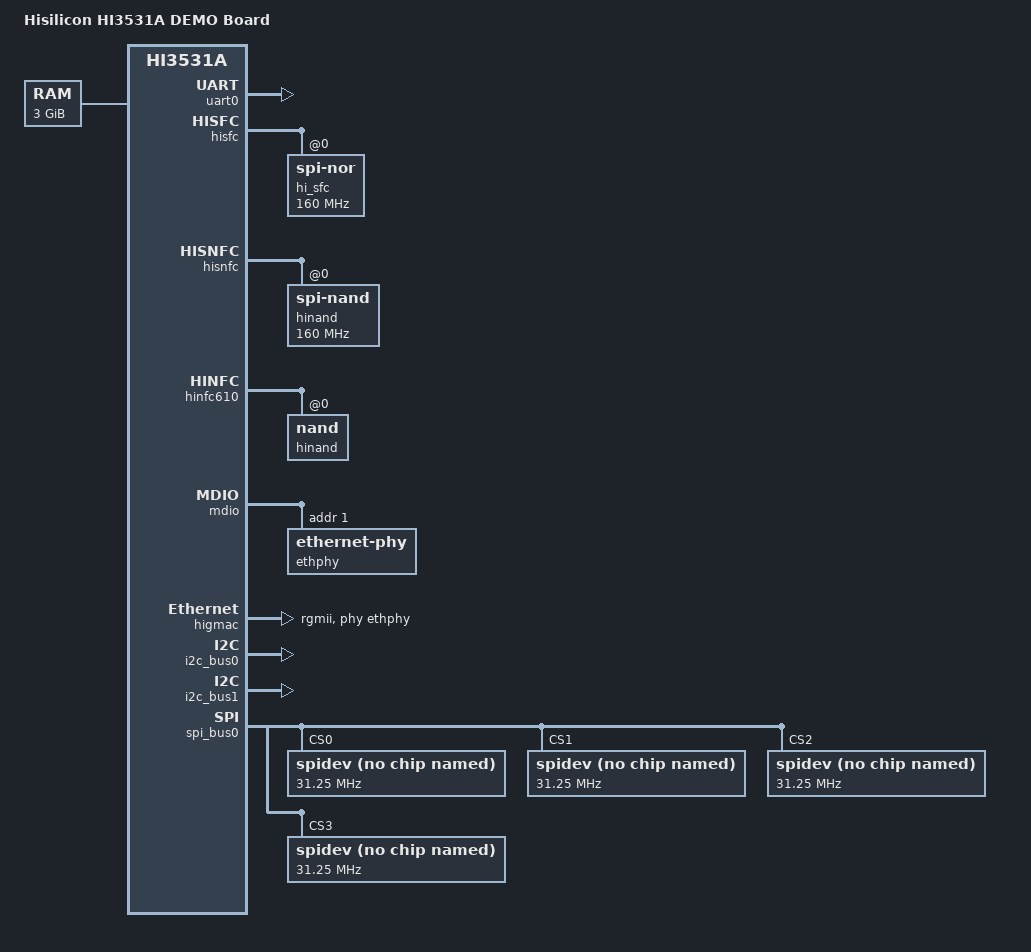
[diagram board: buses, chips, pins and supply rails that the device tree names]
/*
 * Copyright (c) 2013-2014 Linaro Ltd.
 * Copyright (c) 2015-2017 HiSilicon Technologies Co., Ltd.
 *
 * This program is free software; you can redistribute  it and/or modify it
 * under  the terms of  the GNU General  Public License as published by the
 * Free Software Foundation;  either version 2 of the  License, or (at your
 * option) any later version.
 *
 * This program is distributed in the hope that it will be useful,
 * but WITHOUT ANY WARRANTY; without even the implied warranty of
 * MERCHANTABILITY or FITNESS FOR A PARTICULAR PURPOSE. See the
 * GNU General Public License for more details.
 *
 * You should have received a copy of the GNU General Public License
 * along with this program.  If not, see <http://www.gnu.org/licenses/>.
 *
 */

/dts-v1/;
#include "hi3531a.dtsi"

/ {
	model = "Hisilicon HI3531A DEMO Board";
	compatible = "hisilicon,hi3531a";

	chosen{
		linux,initrd-start = <0x42000000>;
	};

	cpus {
		#address-cells = <1>;
		#size-cells = <0>;
		enable-method = "hisilicon,hi3531a-smp";

		cpu@0 {
			compatible = "arm,cortex-a9";
			device_type = "cpu";
			reg = <0>;
			next-level-cache = <&L2>;
		};

		cpu@1 {
			compatible = "arm,cortex-a9";
			device_type = "cpu";
			reg = <1>;
			next-level-cache = <&L2>;
		};
	};

	memory {
		device_type = "memory";
		reg = <0x40000000 0xc0000000>;
	};
};

&uart0 {
	status = "okay";
};

&hidmac {
	status = "okay";
};

&hisfc {
	hi_sfc {
		compatible = "jedec,spi-nor";
		reg = <0>;
		spi-max-frequency = <160000000>;
		m25p,fast-read;
	};
};

&hisnfc {
	hinand {
		compatible = "jedec,spi-nand";
		reg = <0>;
		spi-max-frequency = <160000000>;
	};
};

&hinfc610 {
	assigned-clocks = <&clock HI3531A_NFC_CLK>;
	assigned-clock-rates = <200000000>;

	hinand {
		compatible = "jedec,nand";
		reg = <0>;
		nand-max-frequency = <200000000>;
	};
};

&mdio {
	ethphy: ethernet-phy@1 {
		reg = <1>;
	};
};

&higmac {
	phy-handle = <&ethphy>;
	phy-mode = "rgmii";
};

&i2c_bus0 {
   status = "okay";
};

&i2c_bus1 {
   status = "okay";
};

&spi_bus0{
	status = "okay";
	num-cs = <4>;

	spidev@0 {
		compatible = "rohm,dh2228fv";
		reg = <0>;
		pl022,interface = <0>;
		pl022,com-mode = <0>;
		spi-max-frequency = <31250000>;
	};

	spidev@1 {
		compatible = "rohm,dh2228fv";
		reg = <1>;
		pl022,interface = <0>;
		pl022,com-mode = <0>;
		spi-max-frequency = <31250000>;
	};

	spidev@2 {
		compatible = "rohm,dh2228fv";
		reg = <2>;
		pl022,interface = <0>;
		pl022,com-mode = <0>;
		spi-max-frequency = <31250000>;
	};
	spidev@3 {
		compatible = "rohm,dh2228fv";
		reg = <3>;
		pl022,interface = <0>;
		pl022,com-mode = <0>;
		spi-max-frequency = <31250000>;
	};
};
